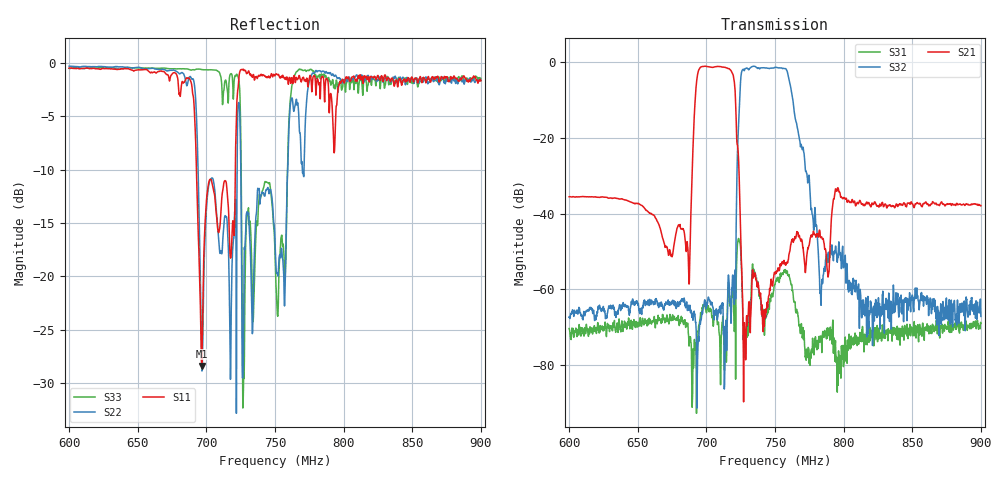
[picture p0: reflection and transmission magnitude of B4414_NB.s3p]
! Matrix data file written by TouchstoneData, EPCOS AG
! FILENAME: "B4414_NB.s2p"
! COMMENT: "measurement on PCB, narrowband, matched"
! INFO: nport=3, nfreq=1601
! DATE: "Tue Jun 24 14:51:05 2014"
! USER: "Daniel Harbusch"
! port | pin | signal
!  1  |  3  |  TX
!  2  |  6  |  Antenna
!  3  |  1  |  RX
# MHZ S MA R 50
! freq  magS11 angS11  magS12 angS12  magS13 angS13  ...
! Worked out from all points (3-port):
!   1601 points, 600 MHz to 900 MHz, reference 50 ohm
!   strongest paths, dB at 600 MHz, 675 MHz, 750 MHz, 825 MHz, 900 MHz:
!     S21: -35.6, -51.4, -55.6, -38.0, -37.9
!     S32: -67.3, -63.2, -1.4, -63.5, -67.1
!     S31: -70.3, -67.3, -58.7, -71.6, -68.9
!   lowest |S11| = -28.4 dB at 696.6 MHz (marker M1), VSWR 1.08, Z = 51.6 + j3.53 ohm
!   |S11| at or under -10 dB: 692.8 MHz to 721.1 MHz (28.32 MHz wide, 4.01 % of centre)
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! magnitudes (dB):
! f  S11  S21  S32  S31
! 600 MHz  -0.5  -35.6  -67.3  -70.3
! 686.6 MHz  -1.4  -49.8  -64.6  -69.7
! 696.6 MHz  -28.4  -1.3  -66.7  -66.3
! 719.6 MHz  -14.9  -3.7  -57.9  -62.5
! 723.9 MHz  -1.1  -30.8  -12.5  -47.2
! 728.2 MHz  -0.7  -73.0  -1.8  -75.6
! 750 MHz  -1.2  -55.6  -1.4  -58.7
! 760.5 MHz  -1.4  -50.3  -5.1  -56.7
! 783.6 MHz  -1.5  -46.2  -64.2  -73.7
! 900 MHz  -1.7  -37.9  -67.1  -68.9
